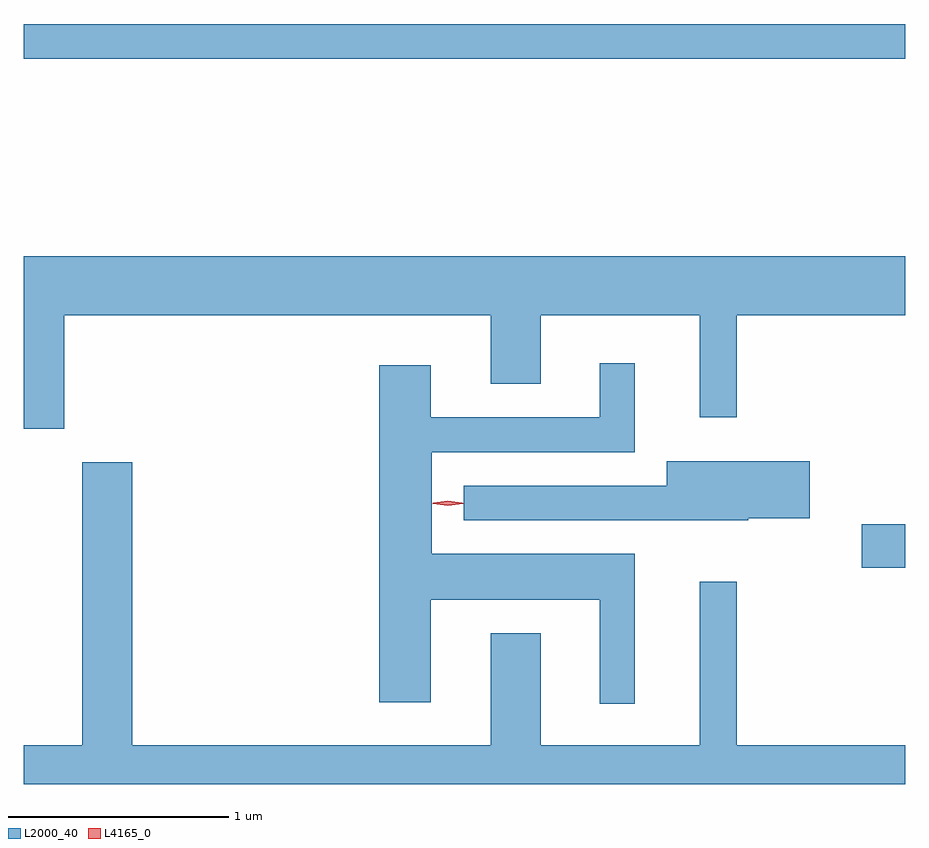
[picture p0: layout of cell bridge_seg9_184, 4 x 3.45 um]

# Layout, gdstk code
import gdstk
lib = gdstk.Library(unit=1e-6, precision=1e-09)
def R(c, l, rs):  # rectangles x0, y0, x1, y1
    for r in rs: c.add(gdstk.rectangle(r[:2], r[2:], *l))
def P(c, l, *ps):  # polygons
    for p in ps: c.add(gdstk.Polygon(p, *l))
L2000_40 = (2000, 40)
L4165_0 = (4165, 0)

bridge_seg9_184 = lib.new_cell('bridge_seg9_184')
R(bridge_seg9_184, L2000_40, [(1226.846,2012.871,1227.042,2013.069), (1223.042,2015.181,1227.042,2015.339)])
P(bridge_seg9_184, L2000_40, [(1223.224,2014.016),(1225.161,2014.016),(1225.161,2013.706),(1225.389,2013.706),(1225.389,2014.016),(1226.111,2014.016),(1226.111,2013.553),(1226.279,2013.553),(1226.279,2014.016),(1227.042,2014.016),(1227.042,2014.284),(1223.042,2014.284),(1223.042,2013.501),(1223.224,2013.501)],
  [(1225.814,2012.934),(1224.894,2012.934),(1224.894,2013.396),(1225.814,2013.396),(1225.814,2013.798),(1225.656,2013.798),(1225.656,2013.554),(1224.889,2013.554),(1224.889,2013.789),(1224.656,2013.789),(1224.656,2012.261),(1224.889,2012.261),(1224.889,2012.726),(1225.656,2012.726),(1225.656,2012.253),(1225.814,2012.253)],
  [(1226.33,2013.096),(1226.609,2013.096),(1226.609,2013.354),(1225.961,2013.354),(1225.961,2013.244),(1225.038,2013.244),(1225.038,2013.086),(1226.33,2013.086)],
  [(1225.161,2012.574),(1225.161,2012.064),(1223.534,2012.064),(1223.534,2013.349),(1223.306,2013.349),(1223.306,2012.064),(1223.042,2012.064),(1223.042,2011.889),(1227.042,2011.889),(1227.042,2012.064),(1226.279,2012.064),(1226.279,2012.808),(1226.111,2012.808),(1226.111,2012.064),(1225.389,2012.064),(1225.389,2012.574)])
P(bridge_seg9_184, L4165_0, [(1224.967,2013.153),(1224.898,2013.162),(1224.898,2013.163),(1224.898,2013.164),(1224.967,2013.173),(1225.036,2013.164),(1225.036,2013.163),(1225.036,2013.162)],
  [(1224.967,2013.154),(1224.901,2013.164),(1224.9,2013.164),(1224.901,2013.165),(1224.967,2013.174),(1225.032,2013.165),(1225.033,2013.164),(1225.032,2013.164)])

lib.write_gds('bridge_seg9_184.gds')
